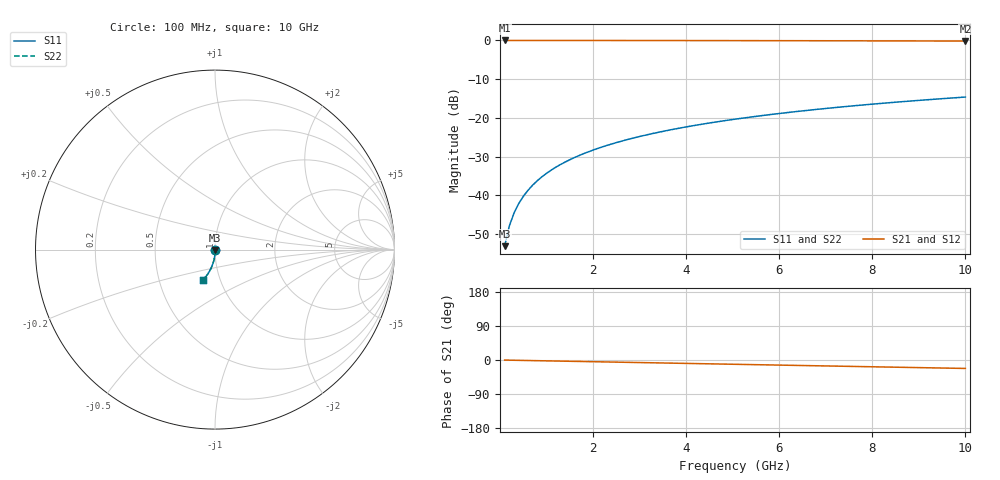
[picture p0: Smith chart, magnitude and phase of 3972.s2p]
# Hz S RI R 50.00
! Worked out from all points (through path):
!   100 points, 100 MHz to 10 GHz, reference 50 ohm
!   highest |S21| = -0.01 dB at 100 MHz (marker M1); lowest = -0.2 dB at 10 GHz (marker M2)
!   group delay of S21, straight-line fit = 6.19 ps
!   lowest |S11| = -53.1 dB at 100 MHz (marker M3), VSWR 1.00, Z = 50.1 - j0.193 ohm
!   |S11| at or under -10 dB: start of sweep to end of sweep
!   |S22| runs from -53.1 to -14.6 dB; largest |S21 - S12| = 0
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1e8  0.00107 -0.00192  0.9989 -0.00392  0.9989 -0.00392  0.00107 -0.00192
2e8  0.00106 -0.00385  0.9989 -0.00784  0.9989 -0.00784  0.00106 -0.00385
3e8  0.00102 -0.00577  0.9988 -0.0118  0.9988 -0.0118  0.00102 -0.00577
4e8  0.00097 -0.00769  0.9987 -0.0157  0.9987 -0.0157  0.00097 -0.00769
5e8  0.000904 -0.00961  0.9986 -0.0196  0.9986 -0.0196  0.000904 -0.00961
6e8  0.000821 -0.0115  0.9985 -0.0235  0.9985 -0.0235  0.000821 -0.0115
7e8  0.000724 -0.0135  0.9984 -0.0274  0.9984 -0.0274  0.000724 -0.0135
8e8  0.000611 -0.0154  0.9983 -0.0313  0.9983 -0.0313  0.000611 -0.0154
9e8  0.000483 -0.0173  0.9981 -0.0352  0.9981 -0.0352  0.000483 -0.0173
1.1e9  0.000181 -0.0211  0.9977 -0.0431  0.9977 -0.0431  0.000181 -0.0211
1.4e9  -0.000385 -0.0269  0.997 -0.0548  0.997 -0.0548  -0.000385 -0.0269
1.8e9  -0.00135 -0.0345  0.9957 -0.0704  0.9957 -0.0704  -0.00135 -0.0345
2.1e9  -0.00223 -0.0402  0.9946 -0.0821  0.9946 -0.0821  -0.00223 -0.0402
2.5e9  -0.00361 -0.0478  0.9928 -0.0976  0.9928 -0.0976  -0.00361 -0.0478
2.9e9  -0.00523 -0.0553  0.9908 -0.1131  0.9908 -0.1131  -0.00523 -0.0553
3.4e9  -0.00758 -0.0646  0.9878 -0.1324  0.9878 -0.1324  -0.00758 -0.0646
4.2e9  -0.0121 -0.0792  0.982 -0.1631  0.982 -0.1631  -0.0121 -0.0792
5.1e9  -0.0182 -0.0953  0.9742 -0.1971  0.9742 -0.1971  -0.0182 -0.0953
5.9e9  -0.0246 -0.1092  0.966 -0.227  0.966 -0.227  -0.0246 -0.1092
6.7e9  -0.0318 -0.1226  0.9567 -0.2564  0.9567 -0.2564  -0.0318 -0.1226
8.4e9  -0.0497 -0.1494  0.9336 -0.3172  0.9336 -0.3172  -0.0497 -0.1494
1e10  -0.0694 -0.1721  0.9078 -0.372  0.9078 -0.372  -0.0694 -0.1721
